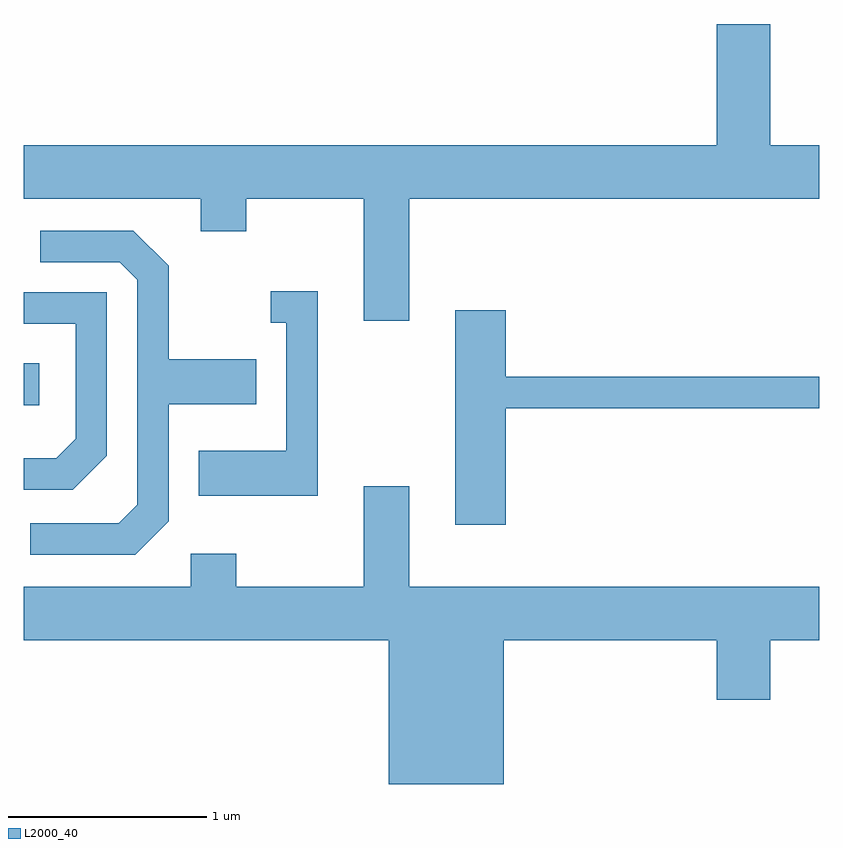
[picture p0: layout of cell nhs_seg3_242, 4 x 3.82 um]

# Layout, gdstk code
import gdstk
lib = gdstk.Library(unit=1e-6, precision=1e-09)
def R(c, l, rs):  # rectangles x0, y0, x1, y1
    for r in rs: c.add(gdstk.rectangle(r[:2], r[2:], *l))
def P(c, l, *ps):  # polygons
    for p in ps: c.add(gdstk.Polygon(p, *l))
L2000_40 = (2000, 40)

nhs_seg3_242 = lib.new_cell('nhs_seg3_242')
R(nhs_seg3_242, L2000_40, [(191.611,1193.796,191.689,1194.009)])
P(nhs_seg3_242, L2000_40, [(193.549,1194.836),(195.611,1194.836),(195.611,1195.104),(195.364,1195.104),(195.364,1195.714),(195.096,1195.714),(195.096,1195.104),(191.611,1195.104),(191.611,1194.836),(192.501,1194.836),(192.501,1194.671),(192.729,1194.671),(192.729,1194.836),(193.321,1194.836),(193.321,1194.221),(193.549,1194.221)],
  [(192.339,1193.214),(192.339,1193.801),(192.779,1193.801),(192.779,1194.029),(192.339,1194.029),(192.339,1194.497),(192.162,1194.674),(191.693,1194.674),(191.693,1194.516),(192.094,1194.516),(192.181,1194.429),(192.181,1193.297),(192.089,1193.204),(191.643,1193.204),(191.643,1193.046),(192.172,1193.046)],
  [(193.089,1194.369),(192.853,1194.369),(192.853,1194.211),(192.931,1194.211),(192.931,1193.569),(192.491,1193.569),(192.491,1193.341),(193.089,1193.341)],
  [(192.029,1193.544),(192.029,1194.364),(191.611,1194.364),(191.611,1194.206),(191.871,1194.206),(191.871,1193.627),(191.774,1193.529),(191.611,1193.529),(191.611,1193.371),(191.857,1193.371)],
  [(194.034,1193.781),(195.611,1193.781),(195.611,1193.939),(194.034,1193.939),(194.034,1194.274),(193.781,1194.274),(193.781,1193.196),(194.034,1193.196)],
  [(194.024,1192.616),(195.096,1192.616),(195.096,1192.316),(195.364,1192.316),(195.364,1192.616),(195.611,1192.616),(195.611,1192.884),(193.549,1192.884),(193.549,1193.389),(193.321,1193.389),(193.321,1192.884),(192.679,1192.884),(192.679,1193.049),(192.451,1193.049),(192.451,1192.884),(191.611,1192.884),(191.611,1192.616),(193.446,1192.616),(193.446,1191.892),(194.024,1191.892)])

lib.write_gds('nhs_seg3_242.gds')
